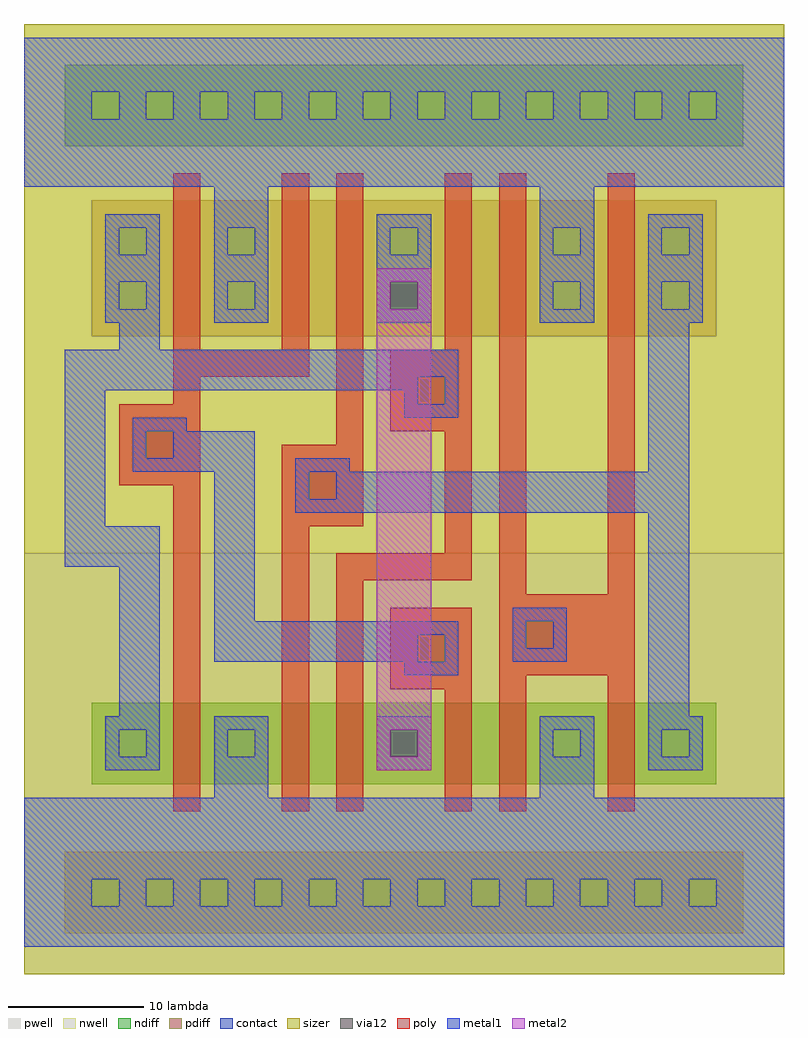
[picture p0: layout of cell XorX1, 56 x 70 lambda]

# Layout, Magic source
magic
tech LibreSilicon-test000-concept-mg-70-7
<< sizer >>
rect 0 0 56 70
<< metal2 >>
rect 26 51 30 52
rect 26 49 27 51
rect 29 49 30 51
rect 26 18 30 49
rect 26 16 27 18
rect 29 16 30 18
rect 26 15 30 16
<< via12 >>
rect 27 49 29 51
rect 27 16 29 18
<< metal1 >>
rect 0 65 56 69
rect 0 63 5 65
rect 7 63 9 65
rect 11 63 13 65
rect 15 63 17 65
rect 19 63 21 65
rect 23 63 25 65
rect 27 63 29 65
rect 31 63 33 65
rect 35 63 37 65
rect 39 63 41 65
rect 43 63 45 65
rect 47 63 49 65
rect 51 63 56 65
rect 0 58 56 63
rect 14 55 18 58
rect 38 55 42 58
rect 6 55 10 56
rect 26 55 30 56
rect 46 55 50 56
rect 6 53 7 55
rect 9 53 10 55
rect 14 53 15 55
rect 17 53 18 55
rect 26 53 27 55
rect 29 53 30 55
rect 38 53 39 55
rect 41 53 42 55
rect 46 53 47 55
rect 49 53 50 55
rect 6 51 10 53
rect 14 51 18 53
rect 26 51 30 53
rect 38 51 42 53
rect 46 51 50 53
rect 6 49 7 51
rect 9 49 10 51
rect 14 49 15 51
rect 17 49 18 51
rect 26 49 27 51
rect 29 49 30 51
rect 38 49 39 51
rect 41 49 42 51
rect 46 49 47 51
rect 49 49 50 51
rect 6 48 10 49
rect 14 48 18 49
rect 26 48 30 49
rect 38 48 42 49
rect 46 48 50 49
rect 7 46 10 48
rect 46 37 49 48
rect 3 44 32 46
rect 3 43 29 44
rect 31 42 32 44
rect 3 33 6 43
rect 28 42 29 43
rect 28 41 32 42
rect 8 40 12 41
rect 8 38 9 40
rect 11 38 17 40
rect 8 37 17 38
rect 20 37 24 38
rect 14 26 17 37
rect 20 35 21 37
rect 23 35 49 37
rect 20 34 49 35
rect 46 19 49 34
rect 3 30 10 33
rect 7 19 10 30
rect 36 26 40 27
rect 14 25 32 26
rect 36 24 37 26
rect 39 24 40 26
rect 14 23 29 25
rect 31 23 32 25
rect 36 23 40 24
rect 28 22 32 23
rect 6 18 10 19
rect 14 18 18 19
rect 26 18 30 19
rect 38 18 42 19
rect 46 18 50 19
rect 6 16 7 18
rect 9 16 10 18
rect 14 16 15 18
rect 17 16 18 18
rect 26 16 27 18
rect 29 16 30 18
rect 38 16 39 18
rect 41 16 42 18
rect 46 16 47 18
rect 49 16 50 18
rect 6 15 10 16
rect 14 13 18 16
rect 26 15 30 16
rect 38 13 42 16
rect 46 15 50 16
rect 0 7 56 13
rect 0 5 5 7
rect 7 5 9 7
rect 11 5 13 7
rect 15 5 17 7
rect 19 5 21 7
rect 23 5 25 7
rect 27 5 29 7
rect 31 5 33 7
rect 35 5 37 7
rect 39 5 41 7
rect 43 5 45 7
rect 47 5 49 7
rect 51 5 56 7
rect 0 2 56 5
<< contact >>
rect 5 63 7 65
rect 9 63 11 65
rect 13 63 15 65
rect 17 63 19 65
rect 21 63 23 65
rect 25 63 27 65
rect 29 63 31 65
rect 33 63 35 65
rect 37 63 39 65
rect 41 63 43 65
rect 45 63 47 65
rect 49 63 51 65
rect 7 53 9 55
rect 15 53 17 55
rect 27 53 29 55
rect 39 53 41 55
rect 47 53 49 55
rect 7 49 9 51
rect 15 49 17 51
rect 27 49 29 51
rect 39 49 41 51
rect 47 49 49 51
rect 29 42 31 44
rect 9 38 11 40
rect 21 35 23 37
rect 37 24 39 26
rect 29 23 31 25
rect 7 16 9 18
rect 15 16 17 18
rect 27 16 29 18
rect 39 16 41 18
rect 47 16 49 18
rect 5 5 7 7
rect 9 5 11 7
rect 13 5 15 7
rect 17 5 19 7
rect 21 5 23 7
rect 25 5 27 7
rect 29 5 31 7
rect 33 5 35 7
rect 37 5 39 7
rect 41 5 43 7
rect 45 5 47 7
rect 49 5 51 7
<< poly >>
rect 11 46 13 59
rect 19 46 21 59
rect 23 39 25 59
rect 31 46 33 59
rect 35 28 37 59
rect 43 28 45 59
rect 11 44 21 46
rect 27 40 33 46
rect 11 42 13 44
rect 7 36 13 42
rect 31 31 33 40
rect 19 33 25 39
rect 11 12 13 36
rect 19 12 21 33
rect 23 29 33 31
rect 23 12 25 29
rect 35 22 45 28
rect 27 21 33 27
rect 35 12 37 22
rect 43 12 45 22
rect 31 12 33 21
<< ndiff >>
rect 3 61 53 67
rect 5 14 51 20
<< pdiff >>
rect 5 47 51 57
rect 3 3 53 9
<< nwell >>
rect 0 31 56 70
<< pwell >>
rect 0 0 56 31
<< end >>
